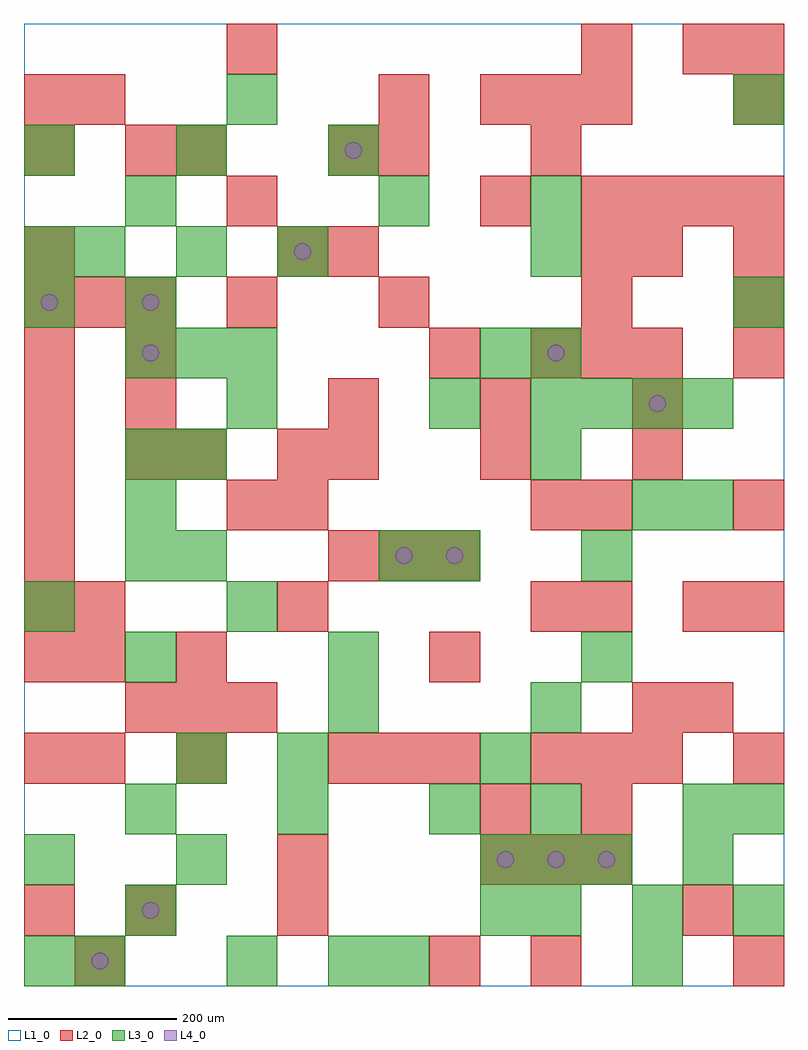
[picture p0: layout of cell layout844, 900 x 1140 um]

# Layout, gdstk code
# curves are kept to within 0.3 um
import gdstk
lib = gdstk.Library(unit=1e-6, precision=1e-09)
def R(c, l, rs):  # rectangles x0, y0, x1, y1
    for r in rs: c.add(gdstk.rectangle(r[:2], r[2:], *l))
def A(c, l, x, y, w, h, nx, ny, dx, dy):  # array of equal rectangles
    R(c, l, [(x+i*dx, y+j*dy, x+i*dx+w, y+j*dy+h) for i in range(nx) for j in range(ny)])
def P(c, l, *ps):  # polygons
    for p in ps: c.add(gdstk.Polygon(p, *l))
L1_0 = (1, 0)
L2_0 = (2, 0)
L3_0 = (3, 0)
L4_0 = (4, 0)

layout844 = lib.new_cell('layout844')
R(layout844, L1_0, [(0,0,900,1140)])
A(layout844, L2_0, 480, 0, 60, 60, 1, 3, 0, 360)
A(layout844, L2_0, 540, 120, 60, 60, 3, 2, 60, 900)
A(layout844, L2_0, 360, 240, 60, 60, 3, 2, 60, 240)
A(layout844, L2_0, 600, 240, 60, 60, 3, 2, 60, 480)
A(layout844, L2_0, 120, 300, 60, 60, 3, 1, 60, 0)
A(layout844, L2_0, 0, 360, 60, 60, 1, 7, 0, 60)
A(layout844, L2_0, 120, 600, 60, 60, 1, 3, 0, 60)
A(layout844, L2_0, 360, 600, 60, 60, 3, 2, 180, 60)
A(layout844, L2_0, 840, 720, 60, 60, 1, 3, 0, 60)
A(layout844, L2_0, 0, 780, 60, 60, 3, 1, 60, 0)
A(layout844, L2_0, 660, 900, 60, 60, 4, 1, 60, 0)
R(layout844, L2_0, [(60,0,120,60), (600,0,660,60), (840,0,900,60), (0,60,60,120), (120,60,180,120), (300,60,360,120), (780,60,840,120), (300,120,360,180), (540,180,600,240), (660,180,720,240), (0,240,60,300), (60,240,120,300), (180,240,240,300), (840,240,900,300), (720,300,780,360), (780,300,840,360), (60,360,120,420), (180,360,240,420), (60,420,120,480), (300,420,360,480), (600,420,660,480), (660,420,720,480), (780,420,840,480), (840,420,900,480), (240,540,300,600), (300,540,360,600), (600,540,660,600), (660,540,720,600), (840,540,900,600), (180,600,240,660), (300,600,360,660), (240,780,300,840), (420,780,480,840), (660,780,720,840), (0,840,60,900), (300,840,360,900), (360,840,420,900), (660,840,720,900), (720,840,780,900), (240,900,300,960), (540,900,600,960), (0,960,60,1020), (120,960,180,1020), (180,960,240,1020), (360,960,420,1020), (420,960,480,1020), (600,960,660,1020), (0,1020,60,1080), (60,1020,120,1080), (420,1020,480,1080), (840,1020,900,1080), (240,1080,300,1140), (660,1080,720,1140), (780,1080,840,1140), (840,1080,900,1140)])
A(layout844, L3_0, 600, 60, 60, 60, 3, 1, 120, 0)
A(layout844, L3_0, 540, 120, 60, 60, 3, 1, 60, 0)
A(layout844, L3_0, 120, 180, 60, 60, 3, 1, 180, 0)
A(layout844, L3_0, 120, 480, 60, 60, 1, 3, 0, 60)
A(layout844, L3_0, 600, 600, 60, 60, 1, 3, 0, 120)
A(layout844, L3_0, 600, 660, 60, 60, 4, 1, 60, 0)
A(layout844, L3_0, 120, 720, 60, 60, 3, 1, 60, 0)
A(layout844, L3_0, 60, 840, 60, 60, 3, 1, 120, 0)
A(layout844, L3_0, 0, 960, 60, 60, 3, 1, 180, 0)
R(layout844, L3_0, [(0,0,60,60), (60,0,120,60), (240,0,300,60), (360,0,420,60), (420,0,480,60), (720,0,780,60), (120,60,180,120), (540,60,600,120), (0,120,60,180), (180,120,240,180), (780,120,840,180), (600,180,660,240), (780,180,840,240), (840,180,900,240), (180,240,240,300), (300,240,360,300), (540,240,600,300), (360,300,420,360), (600,300,660,360), (120,360,180,420), (360,360,420,420), (660,360,720,420), (0,420,60,480), (240,420,300,480), (180,480,240,540), (420,480,480,540), (480,480,540,540), (660,480,720,540), (720,540,780,600), (780,540,840,600), (180,600,240,660), (240,660,300,720), (480,660,540,720), (540,720,600,780), (0,780,60,840), (120,780,180,840), (840,780,900,840), (0,840,60,900), (120,900,180,960), (420,900,480,960), (600,900,660,960), (240,1020,300,1080), (840,1020,900,1080)])
P(layout844, L4_0, [(40,810),(39.239,813.827),(37.071,817.071),(33.827,819.239),(30,820),(26.173,819.239),(22.929,817.071),(20.761,813.827),(20,810),(20.761,806.173),(22.929,802.929),(26.173,800.761),(30,800),(33.827,800.761),(37.071,802.929),(39.239,806.173)],
  [(100,30),(99.239,33.827),(97.071,37.071),(93.827,39.239),(90,40),(86.173,39.239),(82.929,37.071),(80.761,33.827),(80,30),(80.761,26.173),(82.929,22.929),(86.173,20.761),(90,20),(93.827,20.761),(97.071,22.929),(99.239,26.173)],
  [(160,90),(159.239,93.827),(157.071,97.071),(153.827,99.239),(150,100),(146.173,99.239),(142.929,97.071),(140.761,93.827),(140,90),(140.761,86.173),(142.929,82.929),(146.173,80.761),(150,80),(153.827,80.761),(157.071,82.929),(159.239,86.173)],
  [(160,750),(159.239,753.827),(157.071,757.071),(153.827,759.239),(150,760),(146.173,759.239),(142.929,757.071),(140.761,753.827),(140,750),(140.761,746.173),(142.929,742.929),(146.173,740.761),(150,740),(153.827,740.761),(157.071,742.929),(159.239,746.173)],
  [(160,810),(159.239,813.827),(157.071,817.071),(153.827,819.239),(150,820),(146.173,819.239),(142.929,817.071),(140.761,813.827),(140,810),(140.761,806.173),(142.929,802.929),(146.173,800.761),(150,800),(153.827,800.761),(157.071,802.929),(159.239,806.173)],
  [(340,870),(339.239,873.827),(337.071,877.071),(333.827,879.239),(330,880),(326.173,879.239),(322.929,877.071),(320.761,873.827),(320,870),(320.761,866.173),(322.929,862.929),(326.173,860.761),(330,860),(333.827,860.761),(337.071,862.929),(339.239,866.173)],
  [(400,990),(399.239,993.827),(397.071,997.071),(393.827,999.239),(390,1000),(386.173,999.239),(382.929,997.071),(380.761,993.827),(380,990),(380.761,986.173),(382.929,982.929),(386.173,980.761),(390,980),(393.827,980.761),(397.071,982.929),(399.239,986.173)],
  [(460,510),(459.239,513.827),(457.071,517.071),(453.827,519.239),(450,520),(446.173,519.239),(442.929,517.071),(440.761,513.827),(440,510),(440.761,506.173),(442.929,502.929),(446.173,500.761),(450,500),(453.827,500.761),(457.071,502.929),(459.239,506.173)],
  [(520,510),(519.239,513.827),(517.071,517.071),(513.827,519.239),(510,520),(506.173,519.239),(502.929,517.071),(500.761,513.827),(500,510),(500.761,506.173),(502.929,502.929),(506.173,500.761),(510,500),(513.827,500.761),(517.071,502.929),(519.239,506.173)],
  [(580,150),(579.239,153.827),(577.071,157.071),(573.827,159.239),(570,160),(566.173,159.239),(562.929,157.071),(560.761,153.827),(560,150),(560.761,146.173),(562.929,142.929),(566.173,140.761),(570,140),(573.827,140.761),(577.071,142.929),(579.239,146.173)],
  [(640,150),(639.239,153.827),(637.071,157.071),(633.827,159.239),(630,160),(626.173,159.239),(622.929,157.071),(620.761,153.827),(620,150),(620.761,146.173),(622.929,142.929),(626.173,140.761),(630,140),(633.827,140.761),(637.071,142.929),(639.239,146.173)],
  [(640,750),(639.239,753.827),(637.071,757.071),(633.827,759.239),(630,760),(626.173,759.239),(622.929,757.071),(620.761,753.827),(620,750),(620.761,746.173),(622.929,742.929),(626.173,740.761),(630,740),(633.827,740.761),(637.071,742.929),(639.239,746.173)],
  [(700,150),(699.239,153.827),(697.071,157.071),(693.827,159.239),(690,160),(686.173,159.239),(682.929,157.071),(680.761,153.827),(680,150),(680.761,146.173),(682.929,142.929),(686.173,140.761),(690,140),(693.827,140.761),(697.071,142.929),(699.239,146.173)],
  [(760,690),(759.239,693.827),(757.071,697.071),(753.827,699.239),(750,700),(746.173,699.239),(742.929,697.071),(740.761,693.827),(740,690),(740.761,686.173),(742.929,682.929),(746.173,680.761),(750,680),(753.827,680.761),(757.071,682.929),(759.239,686.173)])

lib.write_gds('layout844.gds')
